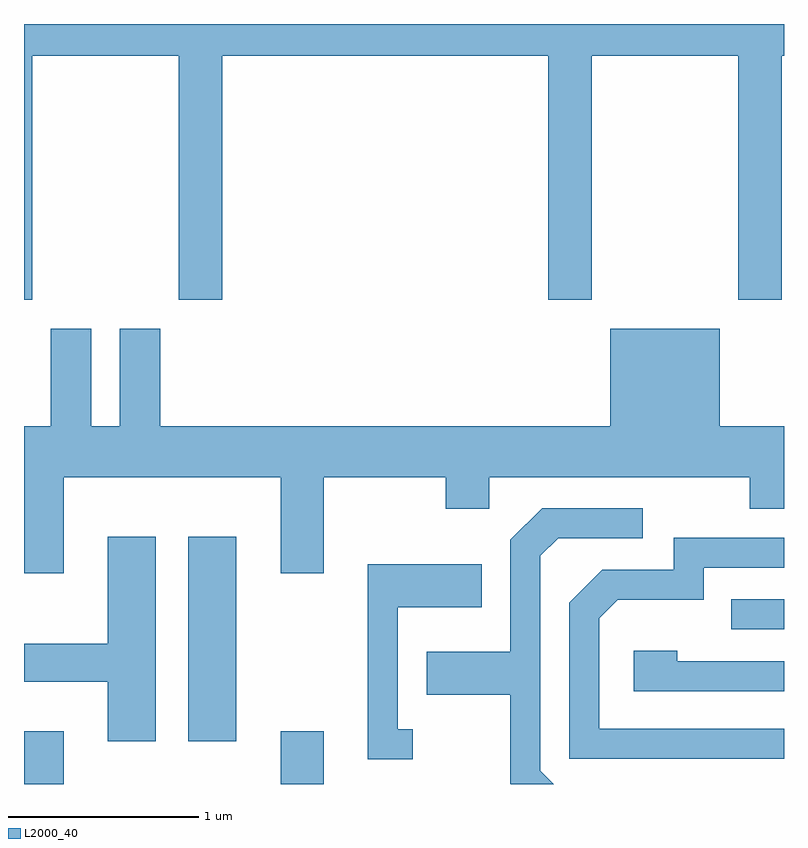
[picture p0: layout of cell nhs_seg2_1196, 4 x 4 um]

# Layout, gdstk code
import gdstk
lib = gdstk.Library(unit=1e-6, precision=1e-09)
def R(c, l, rs):  # rectangles x0, y0, x1, y1
    for r in rs: c.add(gdstk.rectangle(r[:2], r[2:], *l))
def P(c, l, *ps):  # polygons
    for p in ps: c.add(gdstk.Polygon(p, *l))
L2000_40 = (2000, 40)

nhs_seg2_1196 = lib.new_cell('nhs_seg2_1196')
R(nhs_seg2_1196, L2000_40, [(219.611,1057.802,219.819,1058.079), (220.961,1057.802,221.189,1058.079), (220.476,1058.026,220.729,1059.104), (223.333,1058.616,223.611,1058.774)])
P(nhs_seg2_1196, L2000_40, [(219.654,1061.636),(220.426,1061.636),(220.426,1060.351),(220.654,1060.351),(220.654,1061.636),(222.371,1061.636),(222.371,1060.351),(222.599,1060.351),(222.599,1061.636),(223.371,1061.636),(223.371,1060.351),(223.599,1060.351),(223.599,1061.636),(223.611,1061.636),(223.611,1061.802),(219.611,1061.802),(219.611,1060.351),(219.654,1060.351)],
  [(219.819,1059.416),(220.961,1059.416),(220.961,1058.911),(221.189,1058.911),(221.189,1059.416),(221.831,1059.416),(221.831,1059.251),(222.059,1059.251),(222.059,1059.416),(223.431,1059.416),(223.431,1059.251),(223.611,1059.251),(223.611,1059.684),(223.274,1059.684),(223.274,1060.199),(222.696,1060.199),(222.696,1059.684),(220.329,1059.684),(220.329,1060.199),(220.116,1060.199),(220.116,1059.684),(219.964,1059.684),(219.964,1060.199),(219.751,1060.199),(219.751,1059.684),(219.611,1059.684),(219.611,1058.911),(219.819,1058.911)],
  [(222.329,1057.872),(222.329,1059.004),(222.422,1059.096),(222.868,1059.096),(222.868,1059.254),(222.339,1059.254),(222.171,1059.087),(222.171,1058.499),(221.731,1058.499),(221.731,1058.271),(222.171,1058.271),(222.171,1057.804),(222.173,1057.802),(222.399,1057.802)],
  [(220.304,1059.104),(220.051,1059.104),(220.051,1058.539),(219.611,1058.539),(219.611,1058.341),(220.051,1058.341),(220.051,1058.026),(220.304,1058.026)],
  [(223.611,1058.094),(222.639,1058.094),(222.639,1058.674),(222.737,1058.771),(223.189,1058.771),(223.189,1058.941),(223.611,1058.941),(223.611,1059.099),(223.031,1059.099),(223.031,1058.929),(222.654,1058.929),(222.481,1058.757),(222.481,1057.936),(223.611,1057.936)],
  [(221.658,1058.089),(221.579,1058.089),(221.579,1058.731),(222.019,1058.731),(222.019,1058.959),(221.421,1058.959),(221.421,1057.931),(221.658,1057.931)],
  [(223.611,1058.449),(223.049,1058.449),(223.049,1058.504),(222.821,1058.504),(222.821,1058.291),(223.611,1058.291)])

lib.write_gds('nhs_seg2_1196.gds')
